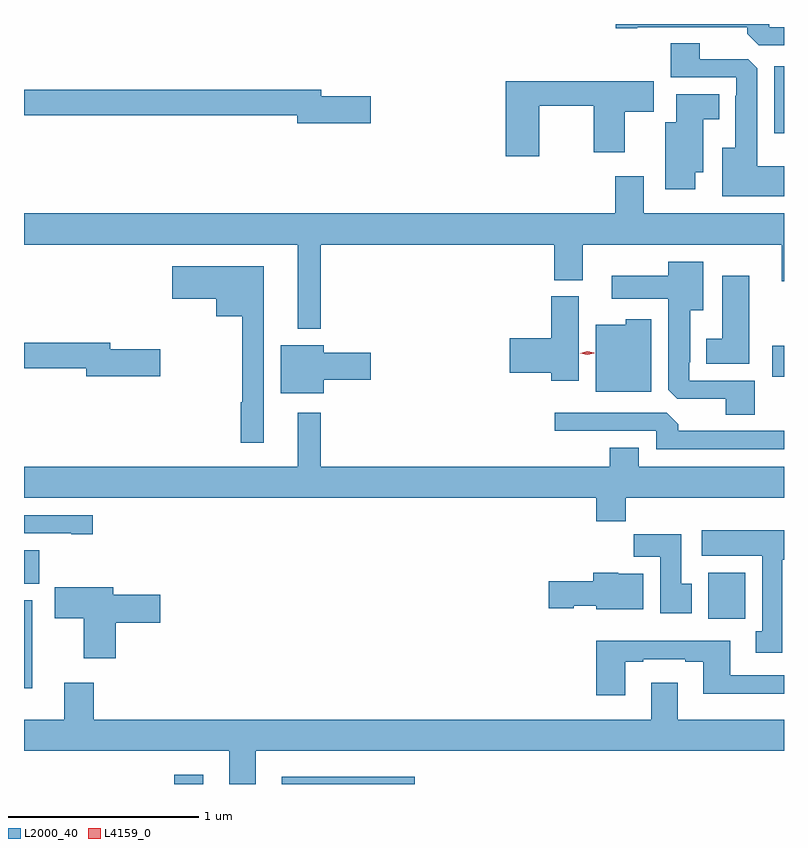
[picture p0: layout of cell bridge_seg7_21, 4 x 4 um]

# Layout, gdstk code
import gdstk
lib = gdstk.Library(unit=1e-6, precision=1e-09)
def R(c, l, rs):  # rectangles x0, y0, x1, y1
    for r in rs: c.add(gdstk.rectangle(r[:2], r[2:], *l))
def P(c, l, *ps):  # polygons
    for p in ps: c.add(gdstk.Polygon(p, *l))
L2000_40 = (2000, 40)
L4159_0 = (4159, 0)

bridge_seg7_21 = lib.new_cell('bridge_seg7_21')
R(bridge_seg7_21, L2000_40, [(1046.927,1052.389,1047.079,1052.437), (1047.491,1052.389,1048.192,1052.428), (1046.135,1052.892,1046.179,1053.355), (1049.735,1053.26,1049.932,1053.502), (1046.135,1053.443,1046.215,1053.619), (1050.072,1054.532,1050.135,1054.695), (1050.083,1055.813,1050.135,1056.166)])
P(bridge_seg7_21, L2000_40, [(1050.135,1056.372),(1050.057,1056.372),(1050.057,1056.389),(1049.25,1056.389),(1049.25,1056.367),(1049.362,1056.367),(1049.362,1056.372),(1049.942,1056.372),(1049.942,1056.338),(1050.003,1056.276),(1050.135,1056.276)],
  [(1050.135,1055.641),(1049.995,1055.641),(1049.995,1056.155),(1049.946,1056.204),(1049.692,1056.204),(1049.692,1056.287),(1049.54,1056.287),(1049.54,1056.108),(1049.883,1056.108),(1049.883,1056.011),(1049.879,1056.011),(1049.879,1055.737),(1049.81,1055.737),(1049.81,1055.483),(1050.135,1055.483)],
  [(1048.848,1055.959),(1049.134,1055.959),(1049.134,1055.715),(1049.296,1055.715),(1049.296,1055.926),(1049.449,1055.926),(1049.449,1056.088),(1048.67,1056.088),(1048.67,1055.694),(1048.848,1055.694)],
  [(1047.961,1056.008),(1047.7,1056.008),(1047.7,1056.044),(1046.135,1056.044),(1046.135,1055.908),(1047.572,1055.908),(1047.572,1055.866),(1047.961,1055.866)],
  [(1049.668,1055.609),(1049.71,1055.609),(1049.71,1055.888),(1049.794,1055.888),(1049.794,1056.019),(1049.567,1056.019),(1049.567,1055.872),(1049.51,1055.872),(1049.51,1055.52),(1049.668,1055.52)],
  [(1047.697,1055.228),(1048.925,1055.228),(1048.925,1055.041),(1049.077,1055.041),(1049.077,1055.228),(1050.122,1055.228),(1050.122,1055.034),(1050.135,1055.034),(1050.135,1055.392),(1049.398,1055.392),(1049.398,1055.587),(1049.246,1055.587),(1049.246,1055.392),(1046.135,1055.392),(1046.135,1055.228),(1047.575,1055.228),(1047.575,1054.784),(1047.697,1054.784)],
  [(1049.981,1054.512),(1049.637,1054.512),(1049.637,1054.609),(1049.641,1054.609),(1049.641,1054.883),(1049.71,1054.883),(1049.71,1055.137),(1049.525,1055.137),(1049.525,1055.065),(1049.229,1055.065),(1049.229,1054.943),(1049.525,1054.943),(1049.525,1054.465),(1049.574,1054.416),(1049.828,1054.416),(1049.828,1054.333),(1049.981,1054.333)],
  [(1047.397,1055.113),(1046.916,1055.113),(1046.916,1054.943),(1047.146,1054.943),(1047.146,1054.85),(1047.283,1054.85),(1047.283,1054.397),(1047.276,1054.397),(1047.276,1054.185),(1047.397,1054.185)],
  [(1049.953,1055.065),(1049.81,1055.065),(1049.81,1054.732),(1049.726,1054.732),(1049.726,1054.601),(1049.953,1054.601)],
  [(1049.056,1054.956),(1048.91,1054.956),(1048.91,1054.736),(1048.692,1054.736),(1048.692,1054.553),(1048.91,1054.553),(1048.91,1054.512),(1049.056,1054.512)],
  [(1049.437,1054.834),(1049.301,1054.834),(1049.301,1054.807),(1049.144,1054.807),(1049.144,1054.454),(1049.437,1054.454)],
  [(1046.851,1054.676),(1046.59,1054.676),(1046.59,1054.712),(1046.135,1054.712),(1046.135,1054.576),(1046.462,1054.576),(1046.462,1054.534),(1046.851,1054.534)],
  [(1047.712,1054.516),(1047.961,1054.516),(1047.961,1054.658),(1047.712,1054.658),(1047.712,1054.699),(1047.485,1054.699),(1047.485,1054.445),(1047.712,1054.445)],
  [(1050.135,1054.248),(1049.579,1054.248),(1049.579,1054.282),(1049.517,1054.344),(1048.929,1054.344),(1048.929,1054.248),(1049.463,1054.248),(1049.463,1054.152),(1050.135,1054.152)],
  [(1049.219,1054.159),(1049.219,1054.06),(1047.697,1054.06),(1047.697,1054.342),(1047.575,1054.342),(1047.575,1054.06),(1046.135,1054.06),(1046.135,1053.896),(1049.147,1053.896),(1049.147,1053.772),(1049.303,1053.772),(1049.303,1053.896),(1050.135,1053.896),(1050.135,1054.06),(1049.371,1054.06),(1049.371,1054.159)],
  [(1046.497,1053.804),(1046.135,1053.804),(1046.135,1053.708),(1046.384,1053.708),(1046.384,1053.703),(1046.497,1053.703)],
  [(1050.127,1053.57),(1050.135,1053.57),(1050.135,1053.724),(1049.703,1053.724),(1049.703,1053.59),(1050.02,1053.59),(1050.02,1053.194),(1049.987,1053.194),(1049.987,1053.081),(1050.127,1053.081)],
  [(1049.65,1053.444),(1049.593,1053.444),(1049.593,1053.703),(1049.344,1053.703),(1049.344,1053.584),(1049.483,1053.584),(1049.483,1053.288),(1049.65,1053.288)],
  [(1049.395,1053.496),(1049.262,1053.496),(1049.262,1053.502),(1049.132,1053.502),(1049.132,1053.456),(1048.896,1053.456),(1048.896,1053.314),(1049.028,1053.314),(1049.028,1053.326),(1049.148,1053.326),(1049.148,1053.308),(1049.395,1053.308)],
  [(1046.618,1053.239),(1046.851,1053.239),(1046.851,1053.386),(1046.605,1053.386),(1046.605,1053.424),(1046.298,1053.424),(1046.298,1053.262),(1046.45,1053.262),(1046.45,1053.051),(1046.618,1053.051)],
  [(1049.299,1053.033),(1049.395,1053.033),(1049.395,1053.045),(1049.615,1053.045),(1049.615,1053.033),(1049.711,1053.033),(1049.711,1052.864),(1050.135,1052.864),(1050.135,1052.961),(1049.851,1052.961),(1049.851,1053.142),(1049.147,1053.142),(1049.147,1052.856),(1049.299,1052.856)],
  [(1047.355,1052.564),(1050.135,1052.564),(1050.135,1052.728),(1049.575,1052.728),(1049.575,1052.923),(1049.435,1052.923),(1049.435,1052.728),(1046.501,1052.728),(1046.501,1052.923),(1046.348,1052.923),(1046.348,1052.728),(1046.135,1052.728),(1046.135,1052.564),(1047.215,1052.564),(1047.215,1052.389),(1047.355,1052.389)])
P(bridge_seg7_21, L4159_0, [(1049.099,1054.647),(1049.062,1054.657),(1049.062,1054.657),(1049.062,1054.657),(1049.099,1054.667),(1049.137,1054.658),(1049.137,1054.658),(1049.137,1054.657)])

lib.write_gds('bridge_seg7_21.gds')
